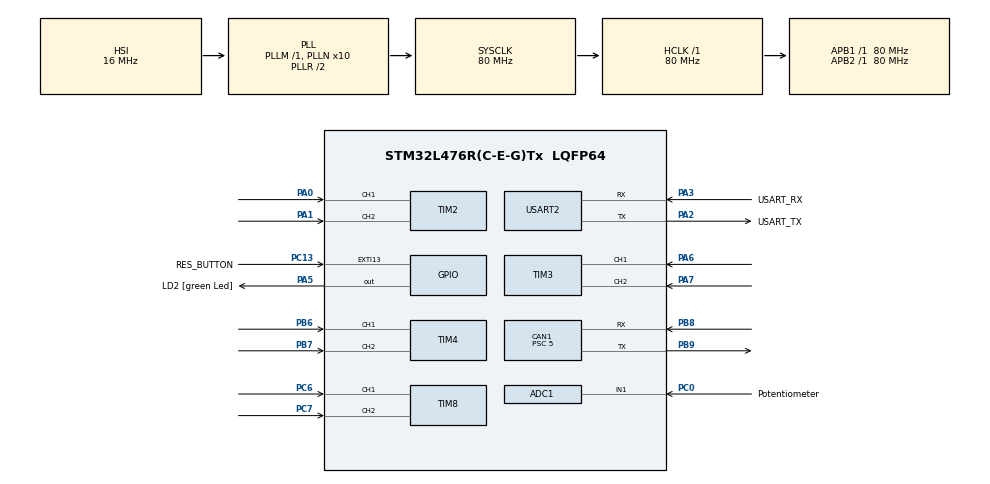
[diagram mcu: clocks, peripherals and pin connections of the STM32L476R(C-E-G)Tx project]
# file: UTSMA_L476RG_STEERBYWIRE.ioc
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ADC1.Channel-0\#ChannelRegularConversion=ADC_CHANNEL_1
ADC1.Channel-1\#ChannelRegularConversion=ADC_CHANNEL_1
ADC1.Channel-10\#ChannelRegularConversion=ADC_CHANNEL_1
ADC1.Channel-11\#ChannelRegularConversion=ADC_CHANNEL_1
ADC1.Channel-12\#ChannelRegularConversion=ADC_CHANNEL_1
ADC1.Channel-13\#ChannelRegularConversion=ADC_CHANNEL_1
ADC1.Channel-14\#ChannelRegularConversion=ADC_CHANNEL_1
ADC1.Channel-2\#ChannelRegularConversion=ADC_CHANNEL_1
ADC1.Channel-3\#ChannelRegularConversion=ADC_CHANNEL_1
ADC1.Channel-4\#ChannelRegularConversion=ADC_CHANNEL_1
ADC1.Channel-5\#ChannelRegularConversion=ADC_CHANNEL_1
ADC1.Channel-6\#ChannelRegularConversion=ADC_CHANNEL_1
ADC1.Channel-7\#ChannelRegularConversion=ADC_CHANNEL_1
ADC1.Channel-8\#ChannelRegularConversion=ADC_CHANNEL_1
ADC1.Channel-9\#ChannelRegularConversion=ADC_CHANNEL_1
ADC1.ClockPrescaler=ADC_CLOCK_ASYNC_DIV1
ADC1.ContinuousConvMode=DISABLE
ADC1.NbrOfConversion=15
ADC1.NbrOfConversionFlag=1
ADC1.OffsetNumber-0\#ChannelRegularConversion=ADC_OFFSET_NONE
ADC1.OffsetNumber-1\#ChannelRegularConversion=ADC_OFFSET_NONE
ADC1.OffsetNumber-10\#ChannelRegularConversion=ADC_OFFSET_NONE
ADC1.OffsetNumber-11\#ChannelRegularConversion=ADC_OFFSET_NONE
ADC1.OffsetNumber-12\#ChannelRegularConversion=ADC_OFFSET_NONE
ADC1.OffsetNumber-13\#ChannelRegularConversion=ADC_OFFSET_NONE
ADC1.OffsetNumber-14\#ChannelRegularConversion=ADC_OFFSET_NONE
ADC1.OffsetNumber-2\#ChannelRegularConversion=ADC_OFFSET_NONE
ADC1.OffsetNumber-3\#ChannelRegularConversion=ADC_OFFSET_NONE
ADC1.OffsetNumber-4\#ChannelRegularConversion=ADC_OFFSET_NONE
ADC1.OffsetNumber-5\#ChannelRegularConversion=ADC_OFFSET_NONE
ADC1.OffsetNumber-6\#ChannelRegularConversion=ADC_OFFSET_NONE
ADC1.OffsetNumber-7\#ChannelRegularConversion=ADC_OFFSET_NONE
ADC1.OffsetNumber-8\#ChannelRegularConversion=ADC_OFFSET_NONE
ADC1.OffsetNumber-9\#ChannelRegularConversion=ADC_OFFSET_NONE
ADC1.Rank-0\#ChannelRegularConversion=1
ADC1.Rank-1\#ChannelRegularConversion=2
ADC1.Rank-10\#ChannelRegularConversion=11
ADC1.Rank-11\#ChannelRegularConversion=12
ADC1.Rank-12\#ChannelRegularConversion=13
ADC1.Rank-13\#ChannelRegularConversion=14
ADC1.Rank-14\#ChannelRegularConversion=15
ADC1.Rank-2\#ChannelRegularConversion=3
ADC1.Rank-3\#ChannelRegularConversion=4
ADC1.Rank-4\#ChannelRegularConversion=5
ADC1.Rank-5\#ChannelRegularConversion=6
ADC1.Rank-6\#ChannelRegularConversion=7
ADC1.Rank-7\#ChannelRegularConversion=8
ADC1.Rank-8\#ChannelRegularConversion=9
ADC1.Rank-9\#ChannelRegularConversion=10
ADC1.Resolution=ADC_RESOLUTION_12B
ADC1.SamplingTime-0\#ChannelRegularConversion=ADC_SAMPLETIME_2CYCLES_5
ADC1.SamplingTime-1\#ChannelRegularConversion=ADC_SAMPLETIME_2CYCLES_5
ADC1.SamplingTime-10\#ChannelRegularConversion=ADC_SAMPLETIME_2CYCLES_5
ADC1.SamplingTime-11\#ChannelRegularConversion=ADC_SAMPLETIME_2CYCLES_5
ADC1.SamplingTime-12\#ChannelRegularConversion=ADC_SAMPLETIME_2CYCLES_5
ADC1.SamplingTime-13\#ChannelRegularConversion=ADC_SAMPLETIME_2CYCLES_5
ADC1.SamplingTime-14\#ChannelRegularConversion=ADC_SAMPLETIME_2CYCLES_5
ADC1.SamplingTime-2\#ChannelRegularConversion=ADC_SAMPLETIME_2CYCLES_5
ADC1.SamplingTime-3\#ChannelRegularConversion=ADC_SAMPLETIME_2CYCLES_5
ADC1.SamplingTime-4\#ChannelRegularConversion=ADC_SAMPLETIME_2CYCLES_5
ADC1.SamplingTime-5\#ChannelRegularConversion=ADC_SAMPLETIME_2CYCLES_5
ADC1.SamplingTime-6\#ChannelRegularConversion=ADC_SAMPLETIME_2CYCLES_5
ADC1.SamplingTime-7\#ChannelRegularConversion=ADC_SAMPLETIME_2CYCLES_5
ADC1.SamplingTime-8\#ChannelRegularConversion=ADC_SAMPLETIME_2CYCLES_5
ADC1.SamplingTime-9\#ChannelRegularConversion=ADC_SAMPLETIME_2CYCLES_5
ADC1.master=1
CAN1.BS1=CAN_BS1_13TQ
CAN1.BS2=CAN_BS2_2TQ
CAN1.CalculateBaudRate=1000000
CAN1.CalculateTimeBit=1000
CAN1.CalculateTimeQuantum=62.5
CAN1.Mode=CAN_MODE_NORMAL
CAN1.Prescaler=5
Mcu.Family=STM32L4
Mcu.Name=STM32L476R(C-E-G)Tx
Mcu.Package=LQFP64
NVIC.CAN1_RX0_IRQn=true\:0\:0\:false\:false\:true\:true\:true\:true
NVIC.CAN1_RX1_IRQn=true\:0\:0\:false\:false\:true\:true\:true\:true
NVIC.PriorityGroup=NVIC_PRIORITYGROUP_4
PA0.Signal=S_TIM2_CH1
PA1.Signal=S_TIM2_CH2
PA13\ (JTMS-SWDIO).GPIO_Label=TMS
PA13\ (JTMS-SWDIO).Mode=Serial_Wire
PA13\ (JTMS-SWDIO).Signal=SYS_JTMS-SWDIO
PA14\ (JTCK-SWCLK).GPIO_Label=TCK
PA14\ (JTCK-SWCLK).Mode=Serial_Wire
PA14\ (JTCK-SWCLK).Signal=SYS_JTCK-SWCLK
PA2.GPIO_Label=USART_TX
PA2.GPIO_Mode=GPIO_MODE_AF_PP
PA2.GPIO_PuPd=GPIO_NOPULL
PA2.GPIO_Speed=GPIO_SPEED_FREQ_VERY_HIGH
PA2.Mode=Asynchronous
PA2.Signal=USART2_TX
PA3.GPIO_Label=USART_RX
PA3.GPIO_Mode=GPIO_MODE_AF_PP
PA3.GPIO_PuPd=GPIO_NOPULL
PA3.GPIO_Speed=GPIO_SPEED_FREQ_VERY_HIGH
PA3.Mode=Asynchronous
PA3.Signal=USART2_RX
PA5.GPIO_Label=LD2 [green Led]
PA5.GPIO_ModeDefaultOutputPP=GPIO_MODE_OUTPUT_PP
PA5.GPIO_PuPd=GPIO_NOPULL
PA5.GPIO_Speed=GPIO_SPEED_FREQ_LOW
PA5.Signal=GPIO_Output
PA6.Signal=S_TIM3_CH1
PA7.Signal=S_TIM3_CH2
PB3\ (JTDO-TRACESWO).GPIO_Label=SWO
PB3\ (JTDO-TRACESWO).Signal=SYS_JTDO-SWO
PB6.Signal=S_TIM4_CH1
PB7.Signal=S_TIM4_CH2
PB8.Mode=CAN_Activate
PB8.Signal=CAN1_RX
PB9.Mode=CAN_Activate
PB9.Signal=CAN1_TX
PC0.GPIO_Label=Potentiometer
PC0.Signal=ADCx_IN1
PC13.GPIO_Label=RES_BUTTON
PC13.GPIO_ModeDefaultEXTI=GPIO_MODE_IT_FALLING
PC13.GPIO_PuPd=GPIO_PULLDOWN
PC13.Signal=GPXTI13
PC14-OSC32_IN\ (PC14).Mode=LSE-External-Oscillator
PC14-OSC32_IN\ (PC14).Signal=RCC_OSC32_IN
PC15-OSC32_OUT\ (PC15).Mode=LSE-External-Oscillator
PC15-OSC32_OUT\ (PC15).Signal=RCC_OSC32_OUT
PC6.Signal=S_TIM8_CH1
PC7.Signal=S_TIM8_CH2
PH0-OSC_IN\ (PH0).Signal=RCC_OSC_IN
PH1-OSC_OUT\ (PH1).Signal=RCC_OSC_OUT
ProjectManager.HeapSize=0x200
ProjectManager.StackSize=0x400
ProjectManager.TargetToolchain=STM32CubeIDE
RCC.ADCFreq_Value=64000000
RCC.AHBFreq_Value=80000000
RCC.APB1Freq_Value=80000000
RCC.APB1TimFreq_Value=80000000
RCC.APB2Freq_Value=80000000
RCC.APB2TimFreq_Value=80000000
RCC.CortexFreq_Value=80000000
RCC.HCLKFreq_Value=80000000
RCC.HSE_VALUE=8000000
RCC.HSI_VALUE=16000000
RCC.MSI_VALUE=4000000
RCC.PLLN=10
RCC.PLLSourceVirtual=RCC_PLLSOURCE_HSI
RCC.PREFETCH_ENABLE=1
RCC.SYSCLKFreq_VALUE=80000000
RCC.SYSCLKSource=RCC_SYSCLKSOURCE_PLLCLK
RCC.USBFreq_Value=64000000
RCC.VCOOutputFreq_Value=160000000
SH.ADCx_IN1.0=ADC1_IN1,IN1-Single-Ended
SH.S_TIM2_CH1.0=TIM2_CH1,Encoder_Interface
SH.S_TIM2_CH2.0=TIM2_CH2,Encoder_Interface
SH.S_TIM3_CH1.0=TIM3_CH1,Encoder_Interface
SH.S_TIM3_CH2.0=TIM3_CH2,Encoder_Interface
SH.S_TIM4_CH1.0=TIM4_CH1,Encoder_Interface
SH.S_TIM4_CH2.0=TIM4_CH2,Encoder_Interface
SH.S_TIM8_CH1.0=TIM8_CH1,Encoder_Interface
SH.S_TIM8_CH2.0=TIM8_CH2,Encoder_Interface
USART2.VirtualMode-Asynchronous=VM_ASYNC
VP_TIM16_VS_ClockSourceINT.Mode=Enable_Timer
board=NUCLEO-L476RG

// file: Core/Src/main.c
/* USER CODE BEGIN Header */
/**
  ******************************************************************************
  * @file           : main.c
  * @brief          : Main program body
  ******************************************************************************
  * @attention
  *
  * Copyright (c) 2023 STMicroelectronics.
  * All rights reserved.
  *
  * This software is licensed under terms that can be found in the LICENSE file
  * in the root directory of this software component.
  * If no LICENSE file comes with this software, it is provided AS-IS.
  *
  ******************************************************************************
  */
/* USER CODE END Header */
#include "main.h"

/* USER CODE BEGIN Includes */
#define PUTCHAR_PROTOTYPE int __io_putchar(int ch)
#include "cubemars_control.h"

/* USER CODE END Includes */

ADC_HandleTypeDef hadc1;

CAN_HandleTypeDef hcan1;

TIM_HandleTypeDef htim2;
TIM_HandleTypeDef htim3;
TIM_HandleTypeDef htim4;
TIM_HandleTypeDef htim8;
TIM_HandleTypeDef htim16;

UART_HandleTypeDef huart2;

/* USER CODE BEGIN PV */
int value;
int value_2;

int adcValue;
GPIO_PinState buttonValue;

// CAN IDs
uint32_t CAN_SENDER_ID = 4; // for sending command
int      CAN_LISTEN_ID = 4; // for listening to reply

// Variables for sending motor command
float Pos_ref;
float Vel_ref = 0;
float Kp = 0.5;
float Kd = 0.2;
float Trq_ff = 0;

// Variables for receiving motor message
float position, speed, torque, temperature;
mc_fault_code error;

/* USER CODE END PV */

void SystemClock_Config(void);
static void MX_GPIO_Init(void);
static void MX_USART2_UART_Init(void);
static void MX_CAN1_Init(void);
static void MX_ADC1_Init(void);
static void MX_TIM2_Init(void);
static void MX_TIM3_Init(void);
static void MX_TIM4_Init(void);
static void MX_TIM8_Init(void);
static void MX_TIM16_Init(void);
/* USER CODE BEGIN PFP */

CAN_FilterTypeDef sFilterConfig;
CAN_TxHeaderTypeDef TxHeader;
CAN_RxHeaderTypeDef RxHeader;
uint8_t TxData[8];
uint8_t RxData[8];
uint32_t TxMailbox;
int increment = 0;

long map(long x, long in_min, long in_max, long out_min, long out_max);

/* USER CODE END PFP */

int main(void)
{

  /* MCU Configuration--------------------------------------------------------*/

  /* Reset of all peripherals, Initializes the Flash interface and the Systick. */
  HAL_Init();

  /* Configure the system clock */
  SystemClock_Config();

  /* Initialize all configured peripherals */
  MX_GPIO_Init();
  MX_USART2_UART_Init();
  MX_CAN1_Init();
  MX_ADC1_Init();
  MX_TIM2_Init();
  MX_TIM3_Init();
  MX_TIM4_Init();
  MX_TIM8_Init();
  MX_TIM16_Init();
  /* USER CODE BEGIN 2 */

  sFilterConfig.FilterActivation = CAN_FILTER_ENABLE;
  sFilterConfig.FilterBank = 10;  // anything between 0 to SlaveStartFilterBank
  sFilterConfig.FilterFIFOAssignment = CAN_RX_FIFO0;
  sFilterConfig.FilterIdHigh = 0;
  sFilterConfig.FilterIdLow = 0x0000;
  sFilterConfig.FilterMaskIdHigh = 0;
  sFilterConfig.FilterMaskIdLow = 0x0000;
  sFilterConfig.FilterMode = CAN_FILTERMODE_IDMASK;
  sFilterConfig.FilterScale = CAN_FILTERSCALE_32BIT;
  sFilterConfig.SlaveStartFilterBank = 0;  // 13 to 27 are assigned to slave CAN (CAN 2) OR 0 to 12 are assgned to CAN1

//  sFilterConfig.FilterBank=0;
//  sFilterConfig.FilterMode=CAN_FILTERMODE_IDMASK;
//  sFilterConfig.FilterScale=CAN_FILTERSCALE_32BIT;
//  sFilterConfig.FilterIdHigh=0x0000;
//  sFilterConfig.FilterIdLow=0x0000;
//  sFilterConfig.FilterMaskIdHigh=0x0000;
//  sFilterConfig.FilterMaskIdLow=0x0000;
//  sFilterConfig.FilterFIFOAssignment=CAN_RX_FIFO0;
//  sFilterConfig.FilterActivation=ENABLE;
//  sFilterConfig.SlaveStartFilterBank=14;

  if(HAL_CAN_ConfigFilter(&hcan1,&sFilterConfig)!=HAL_OK)
  {
	  /* Filter configuration Error */ Error_Handler();

  }

  if(HAL_CAN_Start(&hcan1)!=HAL_OK)
  {
	  /* Start Error */ Error_Handler();
  }

  if(HAL_CAN_ActivateNotification(&hcan1,CAN_IT_RX_FIFO0_MSG_PENDING |CAN_IT_TX_MAILBOX_EMPTY)!=HAL_OK)
  {
	  /* Notification Error */ Error_Handler();
  }

  TxHeader.StdId=CAN_SENDER_ID; // 0x201
  TxHeader.ExtId=0;
  TxHeader.RTR=CAN_RTR_DATA;
  TxHeader.IDE=CAN_ID_STD;
  TxHeader.DLC=8;
  TxHeader.TransmitGlobalTime=DISABLE;

  //TxData[0]=0; TxData[1]=0; TxData[2]=0; TxData[3]=0; TxData[4]=0; TxData[5]=1; TxData[6]=1; TxData[7]=1;
  //HAL_CAN_AddTxMessage(&hcan1,&TxHeader,TxData,&TxMailbox);

  HAL_ADC_Start(&hadc1);

  /* USER CODE END 2 */

  /* Infinite loop */
  /* USER CODE BEGIN WHILE */
  while (1)
  {
	  // /* Read potentiometer value
	  if (HAL_ADC_PollForConversion(&hadc1, 100) == HAL_OK) { // Wait up to 100ms
	      adcValue = HAL_ADC_GetValue(&hadc1);
	      //printf("ADC Value: %d\n", adcValue);
	  } else {
	      printf("ADC Conversion Timeout or Error\n");
	  }
	  HAL_ADC_Start(&hadc1); // Restart ADC to be ready for next measurement
	  // */

	  // Read state of blue button
	  buttonValue = HAL_GPIO_ReadPin(RES_BUTTON_GPIO_Port, RES_BUTTON_Pin);

	  // /* Simple transmission to test connection between MCUs
	  adcValue = map(adcValue, 0, 4095, 0, 255);
	  TxData[0] = adcValue;
	  TxData[1] = increment++;
	  TxData[2] = 123;
	  TxData[3] = buttonValue;
	  HAL_CAN_AddTxMessage(&hcan1, &TxHeader, TxData, &TxMailbox);
	  // */

	  /* Enter and exit Motor Control Mode to test connection
	  if (HAL_CAN_AddTxMessage(&hcan1, &TxHeader, CAN_CMD_ENTER_MOTOR_CONTROL_MODE, &TxMailbox) == HAL_OK) {
		  printf("Enter Command Sent.\n");
	  }
	  HAL_Delay(1000);
	  if (HAL_CAN_AddTxMessage(&hcan1, &TxHeader, CAN_CMD_EXIT_MOTOR_CONTROL_MODE, &TxMailbox) == HAL_OK) {
		  printf("Exit Command Sent.\n");
	  }
	  HAL_ADC_Start(&hadc1);
	  HAL_Delay(750);
	  */

	  /* Send command to motor
	  Pos_ref = map(adcValue, 0, 4095, 0, M_TWOPI);
	  Vel_ref = 0;
	  Kp = 0.5;
	  Kd = 0.2;
	  Trq_ff = 0; // 2 * (float)!HAL_GPIO_ReadPin(RES_BUTTON_GPIO_Port, RES_BUTTON_Pin); // Optionally, give the motor a 2Nm feedforward torque when button is pressed
	  cubemars_send_can_cmd(&hcan1, &TxHeader, &TxMailbox, Pos_ref, Vel_ref, Kp, Kd, Trq_ff);
	  */

	  HAL_Delay(250);

	  /// ORIGINAL VERSION BELOW ///
/*
//	  HAL_CAN_AddTxMessage(&hcan1,&TxHeader,TxData,&TxMailbox); //HAL_Delay(500);
//	  TxData[1] = value++;
//	  TxData[5] = value++;
//	  printf("CAN Tx: %d %d %d %d %d %d %d %d \r\n", TxHeader.StdId, TxData[0], TxData[1], TxData[2], TxData[3], TxData[4], TxData[5], TxData[6], TxData[7]);
//	  printf("CAN Rx: %d %d %d %d %d %d %d %d \r\n", RxHeader.StdId, RxData[0], RxData[1], RxData[2], RxData[3], RxData[4], RxData[5], RxData[6], RxData[7]);
	  //printf("Rx %d \r\n", value_2);

	  HAL_ADC_Start(&hadc1);
//
//
	  adcValue = map(HAL_ADC_GetValue(&hadc1), 0, 4095, 0, 255);
	  TxData[0] = adcValue;
	  TxData[1] = increment++;
	  TxData[2] = 123;
	  HAL_CAN_AddTxMessage(&hcan1, &TxHeader, TxData, &TxMailbox);
	  printf("CAN Tx: %d %d ADC Value %d \r\n", TxHeader.StdId, TxData[0], TxData[1], adcValue);
//	  printf("ADC Value: %d \r\n", adcValue);
	  HAL_Delay(250);
*/

    /* USER CODE END WHILE */

  }
}

void SystemClock_Config(void)
{
  RCC_OscInitTypeDef RCC_OscInitStruct = {0};
  RCC_ClkInitTypeDef RCC_ClkInitStruct = {0};

  /** Configure the main internal regulator output voltage
  */
  if (HAL_PWREx_ControlVoltageScaling(PWR_REGULATOR_VOLTAGE_SCALE1) != HAL_OK)
  {
    Error_Handler();
  }

  /** Initializes the RCC Oscillators according to the specified parameters
  * in the RCC_OscInitTypeDef structure.
  */
  RCC_OscInitStruct.OscillatorType = RCC_OSCILLATORTYPE_HSI;
  RCC_OscInitStruct.HSIState = RCC_HSI_ON;
  RCC_OscInitStruct.HSICalibrationValue = RCC_HSICALIBRATION_DEFAULT;
  RCC_OscInitStruct.PLL.PLLState = RCC_PLL_ON;
  RCC_OscInitStruct.PLL.PLLSource = RCC_PLLSOURCE_HSI;
  RCC_OscInitStruct.PLL.PLLM = 1;
  RCC_OscInitStruct.PLL.PLLN = 10;
  RCC_OscInitStruct.PLL.PLLP = RCC_PLLP_DIV7;
  RCC_OscInitStruct.PLL.PLLQ = RCC_PLLQ_DIV2;
  RCC_OscInitStruct.PLL.PLLR = RCC_PLLR_DIV2;
  if (HAL_RCC_OscConfig(&RCC_OscInitStruct) != HAL_OK)
  {
    Error_Handler();
  }

  /** Initializes the CPU, AHB and APB buses clocks
  */
  RCC_ClkInitStruct.ClockType = RCC_CLOCKTYPE_HCLK|RCC_CLOCKTYPE_SYSCLK
                              |RCC_CLOCKTYPE_PCLK1|RCC_CLOCKTYPE_PCLK2;
  RCC_ClkInitStruct.SYSCLKSource = RCC_SYSCLKSOURCE_PLLCLK;
  RCC_ClkInitStruct.AHBCLKDivider = RCC_SYSCLK_DIV1;
  RCC_ClkInitStruct.APB1CLKDivider = RCC_HCLK_DIV1;
  RCC_ClkInitStruct.APB2CLKDivider = RCC_HCLK_DIV1;

  if (HAL_RCC_ClockConfig(&RCC_ClkInitStruct, FLASH_LATENCY_4) != HAL_OK)
  {
    Error_Handler();
  }
}

static void MX_ADC1_Init(void)
{

  ADC_MultiModeTypeDef multimode = {0};
  ADC_ChannelConfTypeDef sConfig = {0};

  /** Common config
  */
  hadc1.Instance = ADC1;
  hadc1.Init.ClockPrescaler = ADC_CLOCK_ASYNC_DIV1;
  hadc1.Init.Resolution = ADC_RESOLUTION_12B;
  hadc1.Init.DataAlign = ADC_DATAALIGN_RIGHT;
  hadc1.Init.ScanConvMode = ADC_SCAN_ENABLE;
  hadc1.Init.EOCSelection = ADC_EOC_SINGLE_CONV;
  hadc1.Init.LowPowerAutoWait = DISABLE;
  hadc1.Init.ContinuousConvMode = DISABLE;
  hadc1.Init.NbrOfConversion = 15;
  hadc1.Init.DiscontinuousConvMode = DISABLE;
  hadc1.Init.ExternalTrigConv = ADC_SOFTWARE_START;
  hadc1.Init.ExternalTrigConvEdge = ADC_EXTERNALTRIGCONVEDGE_NONE;
  hadc1.Init.DMAContinuousRequests = DISABLE;
  hadc1.Init.Overrun = ADC_OVR_DATA_PRESERVED;
  hadc1.Init.OversamplingMode = DISABLE;
  if (HAL_ADC_Init(&hadc1) != HAL_OK)
  {
    Error_Handler();
  }

  /** Configure the ADC multi-mode
  */
  multimode.Mode = ADC_MODE_INDEPENDENT;
  if (HAL_ADCEx_MultiModeConfigChannel(&hadc1, &multimode) != HAL_OK)
  {
    Error_Handler();
  }

  /** Configure Regular Channel
  */
  sConfig.Channel = ADC_CHANNEL_1;
  sConfig.Rank = ADC_REGULAR_RANK_1;
  sConfig.SamplingTime = ADC_SAMPLETIME_2CYCLES_5;
  sConfig.SingleDiff = ADC_SINGLE_ENDED;
  sConfig.OffsetNumber = ADC_OFFSET_NONE;
  sConfig.Offset = 0;
  if (HAL_ADC_ConfigChannel(&hadc1, &sConfig) != HAL_OK)
  {
    Error_Handler();
  }

  /** Configure Regular Channel
  */
  sConfig.Rank = ADC_REGULAR_RANK_2;
  if (HAL_ADC_ConfigChannel(&hadc1, &sConfig) != HAL_OK)
  {
    Error_Handler();
  }

  /** Configure Regular Channel
  */
  sConfig.Rank = ADC_REGULAR_RANK_3;
  if (HAL_ADC_ConfigChannel(&hadc1, &sConfig) != HAL_OK)
  {
    Error_Handler();
  }

  /** Configure Regular Channel
  */
  sConfig.Rank = ADC_REGULAR_RANK_4;
  if (HAL_ADC_ConfigChannel(&hadc1, &sConfig) != HAL_OK)
  {
    Error_Handler();
  }

  /** Configure Regular Channel
  */
  sConfig.Rank = ADC_REGULAR_RANK_5;
  if (HAL_ADC_ConfigChannel(&hadc1, &sConfig) != HAL_OK)
  {
    Error_Handler();
  }

  /** Configure Regular Channel
  */
  sConfig.Rank = ADC_REGULAR_RANK_6;
  if (HAL_ADC_ConfigChannel(&hadc1, &sConfig) != HAL_OK)
  {
    Error_Handler();
  }

  /** Configure Regular Channel
  */
  sConfig.Rank = ADC_REGULAR_RANK_7;
  if (HAL_ADC_ConfigChannel(&hadc1, &sConfig) != HAL_OK)
  {
    Error_Handler();
  }

  /** Configure Regular Channel
  */
  sConfig.Rank = ADC_REGULAR_RANK_8;
  if (HAL_ADC_ConfigChannel(&hadc1, &sConfig) != HAL_OK)
  {
    Error_Handler();
  }

  /** Configure Regular Channel
  */
  sConfig.Rank = ADC_REGULAR_RANK_9;
  if (HAL_ADC_ConfigChannel(&hadc1, &sConfig) != HAL_OK)
  {
    Error_Handler();
  }

  /** Configure Regular Channel
  */
  sConfig.Rank = ADC_REGULAR_RANK_10;
  if (HAL_ADC_ConfigChannel(&hadc1, &sConfig) != HAL_OK)
  {
    Error_Handler();
  }

  /** Configure Regular Channel
  */
  sConfig.Rank = ADC_REGULAR_RANK_11;
  if (HAL_ADC_ConfigChannel(&hadc1, &sConfig) != HAL_OK)
  {
    Error_Handler();
  }

  /** Configure Regular Channel
  */
  sConfig.Rank = ADC_REGULAR_RANK_12;
  if (HAL_ADC_ConfigChannel(&hadc1, &sConfig) != HAL_OK)
  {
    Error_Handler();
  }

  /** Configure Regular Channel
  */
  sConfig.Rank = ADC_REGULAR_RANK_13;
  if (HAL_ADC_ConfigChannel(&hadc1, &sConfig) != HAL_OK)
  {
    Error_Handler();
  }

  /** Configure Regular Channel
  */
  sConfig.Rank = ADC_REGULAR_RANK_14;
  if (HAL_ADC_ConfigChannel(&hadc1, &sConfig) != HAL_OK)
  {
    Error_Handler();
  }

  /** Configure Regular Channel
  */
  sConfig.Rank = ADC_REGULAR_RANK_15;
  if (HAL_ADC_ConfigChannel(&hadc1, &sConfig) != HAL_OK)
  {
    Error_Handler();
  }

}

static void MX_CAN1_Init(void)
{

  hcan1.Instance = CAN1;
  hcan1.Init.Prescaler = 5;
  hcan1.Init.Mode = CAN_MODE_NORMAL;
  hcan1.Init.SyncJumpWidth = CAN_SJW_1TQ;
  hcan1.Init.TimeSeg1 = CAN_BS1_13TQ;
  hcan1.Init.TimeSeg2 = CAN_BS2_2TQ;
  hcan1.Init.TimeTriggeredMode = DISABLE;
  hcan1.Init.AutoBusOff = DISABLE;
  hcan1.Init.AutoWakeUp = DISABLE;
  hcan1.Init.AutoRetransmission = DISABLE;
  hcan1.Init.ReceiveFifoLocked = DISABLE;
  hcan1.Init.TransmitFifoPriority = DISABLE;
  if (HAL_CAN_Init(&hcan1) != HAL_OK)
  {
    Error_Handler();
  }

}

static void MX_TIM2_Init(void)
{

  TIM_Encoder_InitTypeDef sConfig = {0};
  TIM_MasterConfigTypeDef sMasterConfig = {0};

  htim2.Instance = TIM2;
  htim2.Init.Prescaler = 0;
  htim2.Init.CounterMode = TIM_COUNTERMODE_UP;
  htim2.Init.Period = 4294967295;
  htim2.Init.ClockDivision = TIM_CLOCKDIVISION_DIV1;
  htim2.Init.AutoReloadPreload = TIM_AUTORELOAD_PRELOAD_DISABLE;
  sConfig.EncoderMode = TIM_ENCODERMODE_TI1;
  sConfig.IC1Polarity = TIM_ICPOLARITY_RISING;
  sConfig.IC1Selection = TIM_ICSELECTION_DIRECTTI;
  sConfig.IC1Prescaler = TIM_ICPSC_DIV1;
  sConfig.IC1Filter = 0;
  sConfig.IC2Polarity = TIM_ICPOLARITY_RISING;
  sConfig.IC2Selection = TIM_ICSELECTION_DIRECTTI;
  sConfig.IC2Prescaler = TIM_ICPSC_DIV1;
  sConfig.IC2Filter = 0;
  if (HAL_TIM_Encoder_Init(&htim2, &sConfig) != HAL_OK)
  {
    Error_Handler();
  }
  sMasterConfig.MasterOutputTrigger = TIM_TRGO_RESET;
  sMasterConfig.MasterSlaveMode = TIM_MASTERSLAVEMODE_DISABLE;
  if (HAL_TIMEx_MasterConfigSynchronization(&htim2, &sMasterConfig) != HAL_OK)
  {
    Error_Handler();
  }

}

static void MX_TIM3_Init(void)
{

  TIM_Encoder_InitTypeDef sConfig = {0};
  TIM_MasterConfigTypeDef sMasterConfig = {0};

  htim3.Instance = TIM3;
  htim3.Init.Prescaler = 0;
  htim3.Init.CounterMode = TIM_COUNTERMODE_UP;
  htim3.Init.Period = 65535;
  htim3.Init.ClockDivision = TIM_CLOCKDIVISION_DIV1;
  htim3.Init.AutoReloadPreload = TIM_AUTORELOAD_PRELOAD_DISABLE;
  sConfig.EncoderMode = TIM_ENCODERMODE_TI1;
  sConfig.IC1Polarity = TIM_ICPOLARITY_RISING;
  sConfig.IC1Selection = TIM_ICSELECTION_DIRECTTI;
  sConfig.IC1Prescaler = TIM_ICPSC_DIV1;
  sConfig.IC1Filter = 0;
  sConfig.IC2Polarity = TIM_ICPOLARITY_RISING;
  sConfig.IC2Selection = TIM_ICSELECTION_DIRECTTI;
  sConfig.IC2Prescaler = TIM_ICPSC_DIV1;
  sConfig.IC2Filter = 0;
  if (HAL_TIM_Encoder_Init(&htim3, &sConfig) != HAL_OK)
  {
    Error_Handler();
  }
  sMasterConfig.MasterOutputTrigger = TIM_TRGO_RESET;
  sMasterConfig.MasterSlaveMode = TIM_MASTERSLAVEMODE_DISABLE;
  if (HAL_TIMEx_MasterConfigSynchronization(&htim3, &sMasterConfig) != HAL_OK)
  {
    Error_Handler();
  }

}

static void MX_TIM4_Init(void)
{

  TIM_Encoder_InitTypeDef sConfig = {0};
  TIM_MasterConfigTypeDef sMasterConfig = {0};

  htim4.Instance = TIM4;
  htim4.Init.Prescaler = 0;
  htim4.Init.CounterMode = TIM_COUNTERMODE_UP;
  htim4.Init.Period = 65535;
  htim4.Init.ClockDivision = TIM_CLOCKDIVISION_DIV1;
  htim4.Init.AutoReloadPreload = TIM_AUTORELOAD_PRELOAD_DISABLE;
  sConfig.EncoderMode = TIM_ENCODERMODE_TI1;
  sConfig.IC1Polarity = TIM_ICPOLARITY_RISING;
  sConfig.IC1Selection = TIM_ICSELECTION_DIRECTTI;
  sConfig.IC1Prescaler = TIM_ICPSC_DIV1;
  sConfig.IC1Filter = 0;
  sConfig.IC2Polarity = TIM_ICPOLARITY_RISING;
  sConfig.IC2Selection = TIM_ICSELECTION_DIRECTTI;
  sConfig.IC2Prescaler = TIM_ICPSC_DIV1;
  sConfig.IC2Filter = 0;
  if (HAL_TIM_Encoder_Init(&htim4, &sConfig) != HAL_OK)
  {
    Error_Handler();
  }
  sMasterConfig.MasterOutputTrigger = TIM_TRGO_RESET;
  sMasterConfig.MasterSlaveMode = TIM_MASTERSLAVEMODE_DISABLE;
  if (HAL_TIMEx_MasterConfigSynchronization(&htim4, &sMasterConfig) != HAL_OK)
  {
    Error_Handler();
  }

}

static void MX_TIM8_Init(void)
{

  TIM_Encoder_InitTypeDef sConfig = {0};
  TIM_MasterConfigTypeDef sMasterConfig = {0};

  htim8.Instance = TIM8;
  htim8.Init.Prescaler = 0;
  htim8.Init.CounterMode = TIM_COUNTERMODE_UP;
  htim8.Init.Period = 65535;
  htim8.Init.ClockDivision = TIM_CLOCKDIVISION_DIV1;
  htim8.Init.RepetitionCounter = 0;
  htim8.Init.AutoReloadPreload = TIM_AUTORELOAD_PRELOAD_DISABLE;
  sConfig.EncoderMode = TIM_ENCODERMODE_TI1;
  sConfig.IC1Polarity = TIM_ICPOLARITY_RISING;
  sConfig.IC1Selection = TIM_ICSELECTION_DIRECTTI;
  sConfig.IC1Prescaler = TIM_ICPSC_DIV1;
  sConfig.IC1Filter = 0;
  sConfig.IC2Polarity = TIM_ICPOLARITY_RISING;
  sConfig.IC2Selection = TIM_ICSELECTION_DIRECTTI;
  sConfig.IC2Prescaler = TIM_ICPSC_DIV1;
  sConfig.IC2Filter = 0;
  if (HAL_TIM_Encoder_Init(&htim8, &sConfig) != HAL_OK)
  {
    Error_Handler();
  }
  sMasterConfig.MasterOutputTrigger = TIM_TRGO_RESET;
  sMasterConfig.MasterOutputTrigger2 = TIM_TRGO2_RESET;
  sMasterConfig.MasterSlaveMode = TIM_MASTERSLAVEMODE_DISABLE;
  if (HAL_TIMEx_MasterConfigSynchronization(&htim8, &sMasterConfig) != HAL_OK)
  {
    Error_Handler();
  }

}

static void MX_TIM16_Init(void)
{

  htim16.Instance = TIM16;
  htim16.Init.Prescaler = 0;
  htim16.Init.CounterMode = TIM_COUNTERMODE_UP;
  htim16.Init.Period = 65535;
  htim16.Init.ClockDivision = TIM_CLOCKDIVISION_DIV1;
  htim16.Init.RepetitionCounter = 0;
  htim16.Init.AutoReloadPreload = TIM_AUTORELOAD_PRELOAD_DISABLE;
  if (HAL_TIM_Base_Init(&htim16) != HAL_OK)
  {
    Error_Handler();
  }

}

static void MX_USART2_UART_Init(void)
{

  huart2.Instance = USART2;
  huart2.Init.BaudRate = 115200;
  huart2.Init.WordLength = UART_WORDLENGTH_8B;
  huart2.Init.StopBits = UART_STOPBITS_1;
  huart2.Init.Parity = UART_PARITY_NONE;
  huart2.Init.Mode = UART_MODE_TX_RX;
  huart2.Init.HwFlowCtl = UART_HWCONTROL_NONE;
  huart2.Init.OverSampling = UART_OVERSAMPLING_16;
  huart2.Init.OneBitSampling = UART_ONE_BIT_SAMPLE_DISABLE;
  huart2.AdvancedInit.AdvFeatureInit = UART_ADVFEATURE_NO_INIT;
  if (HAL_UART_Init(&huart2) != HAL_OK)
  {
    Error_Handler();
  }

}

static void MX_GPIO_Init(void)
{
  GPIO_InitTypeDef GPIO_InitStruct = {0};

  /* GPIO Ports Clock Enable */
  __HAL_RCC_GPIOC_CLK_ENABLE();
  __HAL_RCC_GPIOH_CLK_ENABLE();
  __HAL_RCC_GPIOA_CLK_ENABLE();
  __HAL_RCC_GPIOB_CLK_ENABLE();

  /*Configure GPIO pin Output Level */
  HAL_GPIO_WritePin(LD2_GPIO_Port, LD2_Pin, GPIO_PIN_RESET);

  /*Configure GPIO pin : RES_BUTTON_Pin */
  GPIO_InitStruct.Pin = RES_BUTTON_Pin;
  GPIO_InitStruct.Mode = GPIO_MODE_IT_FALLING;
  GPIO_InitStruct.Pull = GPIO_PULLDOWN;
  HAL_GPIO_Init(RES_BUTTON_GPIO_Port, &GPIO_InitStruct);

  /*Configure GPIO pin : LD2_Pin */
  GPIO_InitStruct.Pin = LD2_Pin;
  GPIO_InitStruct.Mode = GPIO_MODE_OUTPUT_PP;
  GPIO_InitStruct.Pull = GPIO_NOPULL;
  GPIO_InitStruct.Speed = GPIO_SPEED_FREQ_LOW;
  HAL_GPIO_Init(LD2_GPIO_Port, &GPIO_InitStruct);

}

/* USER CODE BEGIN 4 */
void HAL_CAN_TxMailbox0CompleteCallback(CAN_HandleTypeDef *hcan)
{
	//HAL_GPIO_TogglePin(GPIOC, GPIO_PIN_13);
	value_2++;
	//printf("Tx %d \r\n", value);

}

void HAL_CAN_RxFifo0MsgPendingCallback(CAN_HandleTypeDef *hcan)
{
	HAL_CAN_GetRxMessage(&hcan1,CAN_RX_FIFO0,&RxHeader,RxData);

	// Print raw data
	print_raw_data(RxData);

	// Process received message from motor
	//cubemars_get_can_msg(RxData, CAN_LISTEN_ID, &position, &speed, &torque, &temperature, &error);

	// Process received command, emulating a motor receiving the command (for debugging purposes)
	//cubemars_get_can_cmd4debug(RxData);

	// Light LD2 based on received data (for confirming connection)
	HAL_GPIO_WritePin(LD2_GPIO_Port, LD2_Pin, !RxData[3]);

	value++;
	//printf("Rx %d \r\n", value);
}

PUTCHAR_PROTOTYPE
{
  /* Place your implementation of fputc here */
  /* e.g. write a character to the USART1 and Loop until the end of transmission */
  HAL_UART_Transmit(&huart2, (uint8_t *)&ch, 1, 0xFFFF);

  return ch;
}

long map(long x, long in_min, long in_max, long out_min, long out_max) {
  return (x - in_min) * (out_max - out_min) / (in_max - in_min) + out_min;
}

/* USER CODE END 4 */

void Error_Handler(void)
{
  __disable_irq();
  while (1)
  {
  }
}
